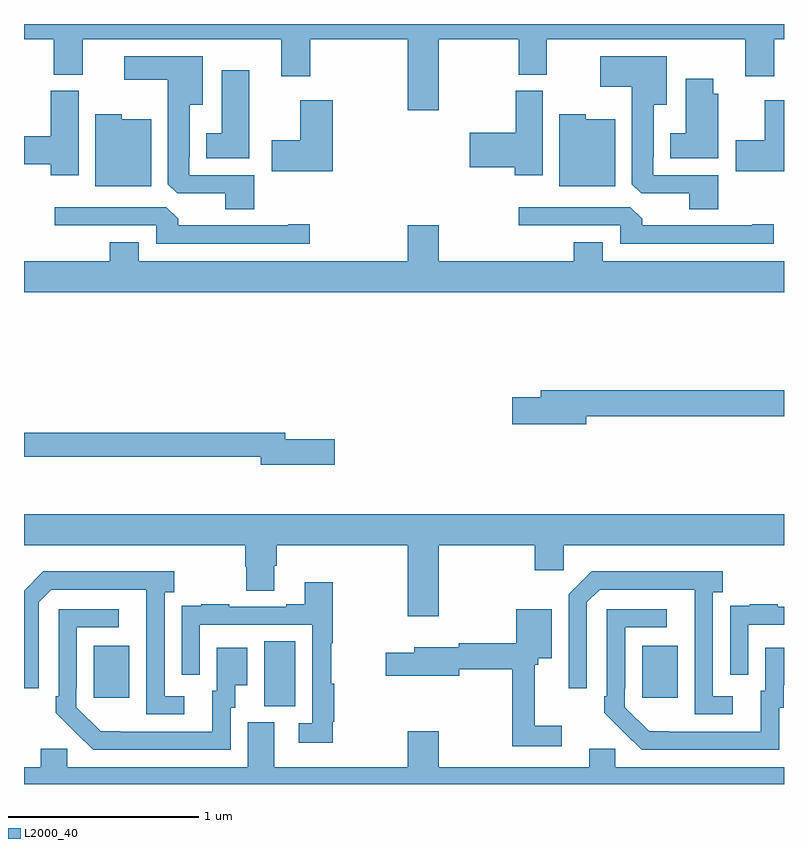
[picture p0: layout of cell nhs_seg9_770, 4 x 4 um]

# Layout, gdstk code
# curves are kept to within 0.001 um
import gdstk
lib = gdstk.Library(unit=1e-6, precision=1e-09)
def R(c, l, rs):  # rectangles x0, y0, x1, y1
    for r in rs: c.add(gdstk.rectangle(r[:2], r[2:], *l))
def P(c, l, *ps):  # polygons
    for p in ps: c.add(gdstk.Polygon(p, *l))
L2000_40 = (2000, 40)

nhs_seg9_770 = lib.new_cell('nhs_seg9_770')
R(nhs_seg9_770, L2000_40, [(152.264,1192.909,152.428,1193.252), (151.367,1192.953,151.555,1193.227), (154.253,1192.953,154.441,1193.227)])
P(nhs_seg9_770, L2000_40, [(151,1196.42),(151.157,1196.42),(151.157,1196.233),(151.309,1196.233),(151.309,1196.42),(152.354,1196.42),(152.354,1196.226),(152.507,1196.226),(152.507,1196.42),(153.02,1196.42),(153.02,1196.046),(153.184,1196.046),(153.184,1196.42),(153.604,1196.42),(153.604,1196.233),(153.751,1196.233),(153.751,1196.42),(154.796,1196.42),(154.796,1196.226),(154.949,1196.226),(154.949,1196.42),(155,1196.42),(155,1196.5),(151,1196.5)],
  [(154.655,1195.704),(154.311,1195.704),(154.311,1195.801),(154.315,1195.801),(154.315,1196.075),(154.384,1196.075),(154.384,1196.329),(154.032,1196.329),(154.032,1196.171),(154.199,1196.171),(154.199,1195.657),(154.248,1195.608),(154.502,1195.608),(154.502,1195.525),(154.655,1195.525)],
  [(152.213,1195.704),(151.869,1195.704),(151.869,1195.801),(151.873,1195.801),(151.873,1196.075),(151.942,1196.075),(151.942,1196.329),(151.527,1196.329),(151.527,1196.207),(151.757,1196.207),(151.757,1195.657),(151.806,1195.608),(152.06,1195.608),(152.06,1195.525),(152.213,1195.525)],
  [(152.185,1196.257),(152.042,1196.257),(152.042,1195.924),(151.958,1195.924),(151.958,1195.793),(152.185,1195.793)],
  [(154.654,1196.133),(154.627,1196.133),(154.627,1196.212),(154.484,1196.212),(154.484,1195.924),(154.4,1195.924),(154.4,1195.793),(154.654,1195.793)],
  [(153.73,1196.148),(153.589,1196.148),(153.589,1195.928),(153.345,1195.928),(153.345,1195.745),(153.584,1195.745),(153.584,1195.704),(153.73,1195.704)],
  [(151.288,1196.148),(151.142,1196.148),(151.142,1195.91),(151,1195.91),(151,1195.763),(151.142,1195.763),(151.142,1195.704),(151.288,1195.704)],
  [(152.624,1196.098),(152.453,1196.098),(152.453,1195.887),(152.304,1195.887),(152.304,1195.724),(152.624,1195.724)],
  [(155,1196.098),(154.898,1196.098),(154.898,1195.887),(154.746,1195.887),(154.746,1195.724),(155,1195.724)],
  [(151.669,1195.999),(151.515,1195.999),(151.515,1196.026),(151.376,1196.026),(151.376,1195.646),(151.669,1195.646)],
  [(154.111,1195.999),(153.957,1195.999),(153.957,1196.026),(153.818,1196.026),(153.818,1195.646),(154.111,1195.646)],
  [(154.945,1195.445),(154.832,1195.445),(154.832,1195.44),(154.253,1195.44),(154.253,1195.474),(154.191,1195.536),(153.603,1195.536),(153.603,1195.44),(154.137,1195.44),(154.137,1195.344),(154.945,1195.344)],
  [(152.503,1195.445),(152.39,1195.445),(152.39,1195.44),(151.811,1195.44),(151.811,1195.474),(151.749,1195.536),(151.161,1195.536),(151.161,1195.44),(151.695,1195.44),(151.695,1195.344),(152.503,1195.344)],
  [(155,1195.252),(154.045,1195.252),(154.045,1195.351),(153.893,1195.351),(153.893,1195.252),(153.184,1195.252),(153.184,1195.441),(153.02,1195.441),(153.02,1195.252),(151.603,1195.252),(151.603,1195.351),(151.451,1195.351),(151.451,1195.252),(151,1195.252),(151,1195.088),(155,1195.088)],
  [(153.958,1194.436),(155,1194.436),(155,1194.572),(153.719,1194.572),(153.719,1194.536),(153.57,1194.536),(153.57,1194.394),(153.958,1194.394)],
  [(152.635,1194.314),(152.374,1194.314),(152.374,1194.35),(151,1194.35),(151,1194.222),(152.246,1194.222),(152.246,1194.179),(152.635,1194.179)],
  [(153.184,1193.756),(153.689,1193.756),(153.689,1193.625),(153.84,1193.625),(153.84,1193.756),(155,1193.756),(155,1193.92),(151,1193.92),(151,1193.756),(152.165,1193.756),(152.165,1193.643),(152.17,1193.643),(152.17,1193.518),(152.317,1193.518),(152.317,1193.65),(152.33,1193.65),(152.33,1193.756),(153.02,1193.756),(153.02,1193.382),(153.184,1193.382)],
  [(151.843,1192.962),(151.74,1192.962),(151.74,1193.51),(151.792,1193.51),(151.792,1193.62),(151.102,1193.62),(151,1193.518),(151,1193.004),(151.077,1193.004),(151.077,1193.457),(151.143,1193.523),(151.643,1193.523),(151.644,1192.866),(151.843,1192.866)],
  [(154.729,1192.962),(154.626,1192.962),(154.626,1193.51),(154.678,1193.51),(154.678,1193.62),(153.988,1193.62),(153.867,1193.499),(153.867,1193.004),(153.963,1193.004),(153.963,1193.457),(154.029,1193.523),(154.529,1193.523),(154.53,1192.866),(154.729,1192.866)],
  [(152.626,1192.828),(152.633,1192.828),(152.633,1193.028),(152.618,1193.028),(152.618,1193.24),(152.626,1193.24),(152.626,1193.563),(152.477,1193.563),(152.477,1193.446),(152.381,1193.446),(152.381,1193.433),(152.081,1193.433),(152.081,1193.446),(151.933,1193.446),(151.933,1193.439),(151.831,1193.439),(151.831,1193.33),(151.83,1193.33),(151.83,1193.076),(151.926,1193.076),(151.926,1193.337),(152.517,1193.337),(152.517,1192.821),(152.445,1192.821),(152.445,1192.716),(152.626,1192.716)],
  [(154.812,1193.337),(155,1193.337),(155,1193.433),(154.967,1193.433),(154.967,1193.446),(154.819,1193.446),(154.819,1193.439),(154.717,1193.439),(154.717,1193.33),(154.716,1193.33),(154.716,1193.076),(154.812,1193.076)],
  [(152.088,1192.902),(152.113,1192.902),(152.113,1193.021),(152.176,1193.021),(152.176,1193.218),(152.015,1193.218),(152.015,1192.992),(151.991,1192.992),(151.991,1192.776),(151.404,1192.777),(151.275,1192.905),(151.275,1193.005),(151.278,1193.005),(151.278,1193.325),(151.498,1193.325),(151.498,1193.421),(151.182,1193.421),(151.182,1192.963),(151.167,1192.963),(151.167,1192.875),(151.364,1192.68),(152.088,1192.68)],
  [(154.974,1192.902),(154.999,1192.902),(155,1193.218),(154.901,1193.218),(154.901,1192.992),(154.877,1192.992),(154.877,1192.776),(154.29,1192.777),(154.161,1192.905),(154.161,1193.005),(154.164,1193.005),(154.164,1193.325),(154.384,1193.325),(154.384,1193.421),(154.068,1193.421),(154.068,1192.963),(154.053,1192.963),(154.053,1192.875),(154.25,1192.68),(154.974,1192.68)],
  [(153.829,1192.807),(153.689,1192.807),(153.689,1193.127),(153.706,1193.127),(153.706,1193.162),(153.778,1193.162),(153.778,1193.419),(153.59,1193.419),(153.59,1193.24),(153.288,1193.24),(153.288,1193.221),(153.053,1193.221),(153.053,1193.191),(152.904,1193.191),(152.904,1193.069),(153.292,1193.069),(153.292,1193.104),(153.571,1193.104),(153.571,1192.698),(153.829,1192.698)],
  [(155,1192.588),(154.113,1192.588),(154.113,1192.686),(153.974,1192.686),(153.974,1192.588),(153.184,1192.588),(153.184,1192.777),(153.02,1192.777),(153.02,1192.588),(152.317,1192.588),(152.317,1192.824),(152.177,1192.824),(152.177,1192.588),(151.227,1192.588),(151.227,1192.686),(151.088,1192.686),(151.088,1192.588),(151,1192.588),(151,1192.5),(155,1192.5)])

lib.write_gds('nhs_seg9_770.gds')
